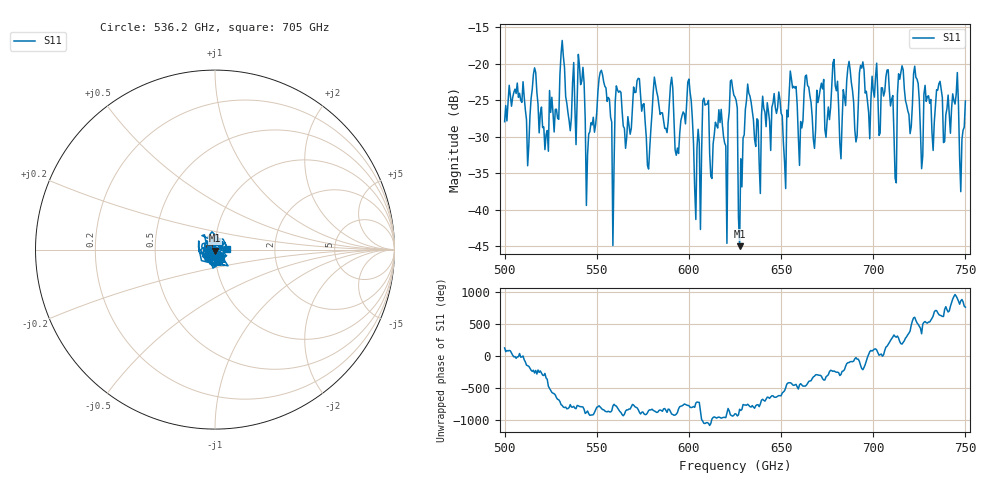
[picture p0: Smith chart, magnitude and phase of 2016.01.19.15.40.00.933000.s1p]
!Created with skrf (http://scikit-rf.org).
# GHz S RI R 50.0
!freq ReS11 ImS11
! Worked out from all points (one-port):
!   401 points, 500 GHz to 750 GHz, reference 50 ohm
!   lowest |S11| = -45.0 dB at 627.5 GHz (marker M1), VSWR 1.01, Z = 49.8 - j0.54 ohm
!   |S11| at or under -10 dB: start of sweep to end of sweep
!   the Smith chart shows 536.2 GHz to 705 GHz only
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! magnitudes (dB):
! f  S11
! 500 GHz  -28.0
! 516.2 GHz  -20.6
! 522.5 GHz  -29.7
! 531.2 GHz  -16.8
! 535 GHz  -27.8
! 541.2 GHz  -22.9
! 545 GHz  -32.5
! 552.5 GHz  -20.9
! 558.1 GHz  -28.0
! 562.5 GHz  -23.7
! 572.5 GHz  -22.0
! 578.1 GHz  -34.4
! 590.6 GHz  -21.9
! 593.8 GHz  -31.6
! 600 GHz  -22.1
! 605 GHz  -29.0
! 608.8 GHz  -25.7
! 620 GHz  -31.3
! 625 GHz  -24.6
! 627.5 GHz  -45.0
! 631.9 GHz  -22.8
! 652.5 GHz  -37.1
! 656.2 GHz  -23.3
! 660.6 GHz  -27.9
! 687.5 GHz  -20.9
! 690.6 GHz  -30.7
! 718.8 GHz  -26.5
! 750 GHz  -25.1
